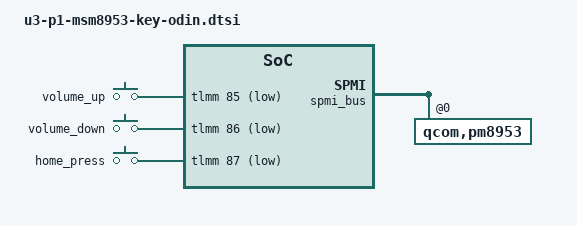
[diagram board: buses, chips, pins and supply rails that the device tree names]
&spmi_bus {
	qcom,pm8953@0 {
		qcom,power-on@800 {
			/* Power */
			qcom,pon_1 {
				label = "power";
				qcom,pon-type = <0>;
				qcom,pull-up = <1>;
				linux,code = <116>;
			};

			qcom,pon_2 {
				status = "disable";
			};
		};
	};
};

&soc {
	/delete-node/ gpio_keys;

	gpio_keys {
		compatible = "gpio-keys";
		input-name = "gpio-keys";
		pinctrl-names = "tlmm_gpio_key_active","tlmm_gpio_key_suspend";
		pinctrl-0 = <&gpio_key_active>;
		pinctrl-1 = <&gpio_key_suspend>;

		/* Volume Up */
		volume_up {
			label = "volume_up";
			gpios = <&tlmm 85 0x1>;
			linux,input-type = <1>;
			linux,code = <115>;
			debounce-interval = <15>;
		};

		/* Volume Down */
		volume_down {
			label = "volume_down";
			gpios = <&tlmm 86 0x1>;
			linux,input-type = <1>;
			linux,code = <114>;
			debounce-interval = <15>;
		};

		/* Home Press */
		home_press {
			label = "home_press";
			gpios = <&tlmm 87 0x1>;
			linux,input-type = <1>;
			linux,code = <172>;
			debounce-interval = <15>;
			gpio-key,wakeup;
		};
	};
};
